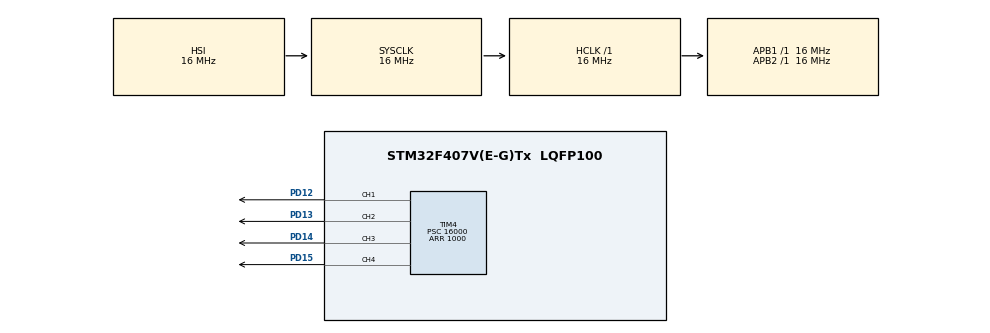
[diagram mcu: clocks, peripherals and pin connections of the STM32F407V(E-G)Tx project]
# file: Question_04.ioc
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Mcu.Family=STM32F4
Mcu.Name=STM32F407V(E-G)Tx
Mcu.Package=LQFP100
NVIC.PriorityGroup=NVIC_PRIORITYGROUP_4
PD12.Signal=S_TIM4_CH1
PD13.Signal=S_TIM4_CH2
PD14.Signal=S_TIM4_CH3
PD15.Signal=S_TIM4_CH4
ProjectManager.HeapSize=0x200
ProjectManager.StackSize=0x400
ProjectManager.TargetToolchain=STM32CubeIDE
RCC.AHBFreq_Value=16000000
RCC.APB1Freq_Value=16000000
RCC.APB2Freq_Value=16000000
RCC.CortexFreq_Value=16000000
RCC.HSE_VALUE=25000000
RCC.HSI_VALUE=16000000
RCC.LSE_VALUE=32768
RCC.SYSCLKFreq_VALUE=16000000
RCC.VCOOutputFreq_Value=192000000
SH.S_TIM4_CH1.0=TIM4_CH1,Output Compare1 CH1
SH.S_TIM4_CH2.0=TIM4_CH2,Output Compare2 CH2
SH.S_TIM4_CH3.0=TIM4_CH3,Output Compare3 CH3
SH.S_TIM4_CH4.0=TIM4_CH4,Output Compare4 CH4
TIM4.AutoReloadPreload=TIM_AUTORELOAD_PRELOAD_ENABLE
TIM4.Channel-Output\ Compare1\ CH1=TIM_CHANNEL_1
TIM4.Channel-Output\ Compare2\ CH2=TIM_CHANNEL_2
TIM4.Channel-Output\ Compare3\ CH3=TIM_CHANNEL_3
TIM4.Channel-Output\ Compare4\ CH4=TIM_CHANNEL_4
TIM4.OCMode_1=TIM_OCMODE_TOGGLE
TIM4.OCMode_2=TIM_OCMODE_TOGGLE
TIM4.OCMode_3=TIM_OCMODE_TOGGLE
TIM4.OCMode_4=TIM_OCMODE_TOGGLE
TIM4.Period=1000
TIM4.Prescaler=16000
VP_TIM4_VS_ClockSourceINT.Mode=Internal
board=custom

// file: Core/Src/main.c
/* USER CODE BEGIN Header */
/**
  ******************************************************************************
  * @file           : main.c
  * @brief          : Main program body
  ******************************************************************************
  * @attention
  *
  * Copyright (c) 2026 STMicroelectronics.
  * All rights reserved.
  *
  * This software is licensed under terms that can be found in the LICENSE file
  * in the root directory of this software component.
  * If no LICENSE file comes with this software, it is provided AS-IS.
  *
  ******************************************************************************
  */
/* USER CODE END Header */
#include "main.h"

TIM_HandleTypeDef htim4;

/* USER CODE BEGIN PV */
uint16_t current_ccr1 = 0;
uint16_t current_ccr2 = 0;
uint16_t current_ccr3 = 0;
uint16_t current_ccr4 = 0;

/* USER CODE END PV */

void SystemClock_Config(void);
static void MX_GPIO_Init(void);
static void MX_TIM4_Init(void);

int main(void)
{

  /* MCU Configuration--------------------------------------------------------*/

  /* Reset of all peripherals, Initializes the Flash interface and the Systick. */
  HAL_Init();

  /* Configure the system clock */
  SystemClock_Config();

  /* Initialize all configured peripherals */
  MX_GPIO_Init();
  MX_TIM4_Init();
  /* USER CODE BEGIN 2 */
  __HAL_TIM_SET_COMPARE(&htim4,TIM_CHANNEL_1,200);
  __HAL_TIM_SET_COMPARE(&htim4,TIM_CHANNEL_2,400);
  __HAL_TIM_SET_COMPARE(&htim4,TIM_CHANNEL_3,600);
  __HAL_TIM_SET_COMPARE(&htim4,TIM_CHANNEL_4,800);

  HAL_TIM_OC_Start_IT(&htim4, TIM_CHANNEL_1);
  HAL_TIM_OC_Start_IT(&htim4, TIM_CHANNEL_2);
  HAL_TIM_OC_Start_IT(&htim4, TIM_CHANNEL_3);
  HAL_TIM_OC_Start_IT(&htim4, TIM_CHANNEL_4);

  HAL_TIM_Base_Start(&htim4);

  /* USER CODE END 2 */

  /* Infinite loop */
  while (1)
  {

  }
}

void SystemClock_Config(void)
{
  RCC_OscInitTypeDef RCC_OscInitStruct = {0};
  RCC_ClkInitTypeDef RCC_ClkInitStruct = {0};

  /** Configure the main internal regulator output voltage
  */
  __HAL_RCC_PWR_CLK_ENABLE();
  __HAL_PWR_VOLTAGESCALING_CONFIG(PWR_REGULATOR_VOLTAGE_SCALE1);

  /** Initializes the RCC Oscillators according to the specified parameters
  * in the RCC_OscInitTypeDef structure.
  */
  RCC_OscInitStruct.OscillatorType = RCC_OSCILLATORTYPE_HSI;
  RCC_OscInitStruct.HSIState = RCC_HSI_ON;
  RCC_OscInitStruct.HSICalibrationValue = RCC_HSICALIBRATION_DEFAULT;
  RCC_OscInitStruct.PLL.PLLState = RCC_PLL_NONE;
  if (HAL_RCC_OscConfig(&RCC_OscInitStruct) != HAL_OK)
  {
    Error_Handler();
  }

  /** Initializes the CPU, AHB and APB buses clocks
  */
  RCC_ClkInitStruct.ClockType = RCC_CLOCKTYPE_HCLK|RCC_CLOCKTYPE_SYSCLK
                              |RCC_CLOCKTYPE_PCLK1|RCC_CLOCKTYPE_PCLK2;
  RCC_ClkInitStruct.SYSCLKSource = RCC_SYSCLKSOURCE_HSI;
  RCC_ClkInitStruct.AHBCLKDivider = RCC_SYSCLK_DIV1;
  RCC_ClkInitStruct.APB1CLKDivider = RCC_HCLK_DIV1;
  RCC_ClkInitStruct.APB2CLKDivider = RCC_HCLK_DIV1;

  if (HAL_RCC_ClockConfig(&RCC_ClkInitStruct, FLASH_LATENCY_0) != HAL_OK)
  {
    Error_Handler();
  }
}

static void MX_TIM4_Init(void)
{

  TIM_ClockConfigTypeDef sClockSourceConfig = {0};
  TIM_MasterConfigTypeDef sMasterConfig = {0};
  TIM_OC_InitTypeDef sConfigOC = {0};

  htim4.Instance = TIM4;
  htim4.Init.Prescaler = 16000;
  htim4.Init.CounterMode = TIM_COUNTERMODE_UP;
  htim4.Init.Period = 1000;
  htim4.Init.ClockDivision = TIM_CLOCKDIVISION_DIV1;
  htim4.Init.AutoReloadPreload = TIM_AUTORELOAD_PRELOAD_ENABLE;
  if (HAL_TIM_Base_Init(&htim4) != HAL_OK)
  {
    Error_Handler();
  }
  sClockSourceConfig.ClockSource = TIM_CLOCKSOURCE_INTERNAL;
  if (HAL_TIM_ConfigClockSource(&htim4, &sClockSourceConfig) != HAL_OK)
  {
    Error_Handler();
  }
  if (HAL_TIM_OC_Init(&htim4) != HAL_OK)
  {
    Error_Handler();
  }
  sMasterConfig.MasterOutputTrigger = TIM_TRGO_RESET;
  sMasterConfig.MasterSlaveMode = TIM_MASTERSLAVEMODE_DISABLE;
  if (HAL_TIMEx_MasterConfigSynchronization(&htim4, &sMasterConfig) != HAL_OK)
  {
    Error_Handler();
  }
  sConfigOC.OCMode = TIM_OCMODE_TOGGLE;
  sConfigOC.Pulse = 0;
  sConfigOC.OCPolarity = TIM_OCPOLARITY_HIGH;
  sConfigOC.OCFastMode = TIM_OCFAST_DISABLE;
  if (HAL_TIM_OC_ConfigChannel(&htim4, &sConfigOC, TIM_CHANNEL_1) != HAL_OK)
  {
    Error_Handler();
  }
  if (HAL_TIM_OC_ConfigChannel(&htim4, &sConfigOC, TIM_CHANNEL_2) != HAL_OK)
  {
    Error_Handler();
  }
  if (HAL_TIM_OC_ConfigChannel(&htim4, &sConfigOC, TIM_CHANNEL_3) != HAL_OK)
  {
    Error_Handler();
  }
  if (HAL_TIM_OC_ConfigChannel(&htim4, &sConfigOC, TIM_CHANNEL_4) != HAL_OK)
  {
    Error_Handler();
  }
  HAL_TIM_MspPostInit(&htim4);

}

static void MX_GPIO_Init(void)
{

  /* GPIO Ports Clock Enable */
  __HAL_RCC_GPIOD_CLK_ENABLE();

}

/* USER CODE BEGIN 4 */
void HAL_TIM_OC_DelayElapsedCallback(TIM_HandleTypeDef *htim)
{
	if(htim->Channel == HAL_TIM_ACTIVE_CHANNEL_1)
	{
		current_ccr1 = __HAL_TIM_GET_COMPARE(htim, TIM_CHANNEL_1);
		__HAL_TIM_SET_COMPARE(htim, TIM_CHANNEL_1, current_ccr1 + 200);
	}
	else if(htim->Channel == HAL_TIM_ACTIVE_CHANNEL_2)
	{
		current_ccr2 = __HAL_TIM_GET_COMPARE(htim,TIM_CHANNEL_2);
		__HAL_TIM_SET_COMPARE(htim,TIM_CHANNEL_2,current_ccr2 + 400);

	}
	else  if(htim->Channel == HAL_TIM_ACTIVE_CHANNEL_3)
	{
		current_ccr3 = __HAL_TIM_GET_COMPARE(htim,TIM_CHANNEL_3);
		__HAL_TIM_SET_COMPARE(htim,TIM_CHANNEL_3,current_ccr3 + 600);
	}
	else if(htim->Channel == HAL_TIM_ACTIVE_CHANNEL_4)
	{
		current_ccr4 = __HAL_TIM_GET_COMPARE(htim,TIM_CHANNEL_4);
		__HAL_TIM_SET_COMPARE(htim,TIM_CHANNEL_4,current_ccr4 + 800);
	}
}

/* USER CODE END 4 */

void Error_Handler(void)
{
  __disable_irq();
  while (1)
  {
  }
}
